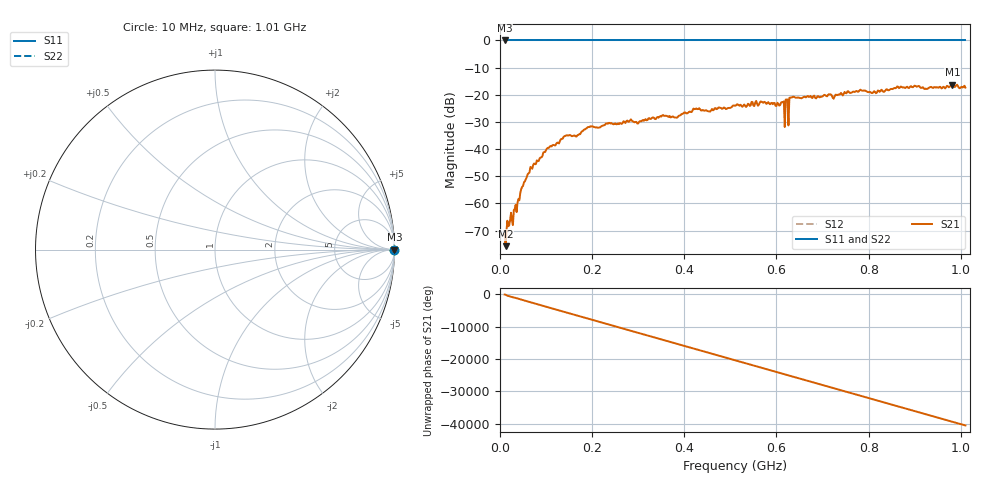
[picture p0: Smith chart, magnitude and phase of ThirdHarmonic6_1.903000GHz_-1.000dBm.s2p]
! 8/16/2025 10:58:07 PM
! C:\ANRITSUVNA\TEMP\TEMP.S2P
! CHANNEL.1
! TR.MEASUREMENT
! RAW.DATA
! RF.CORRECTION.OFF
! AVERAGING.OFF
! IF.BANDWIDTH: 5KHZ
! SWEEPTYPE:  FREQ.SWEEP(Linear)
! Reference Plane Port Info
! PORT:  PORT1  PORT2
! DISTANCE:  0  m  0  m
! TIME:  0  s  0  s
! PHASE.OFFSET:  0  deg.  0  deg.
! LOSS:  0  dB  0  dB
! REF.LOSS:  0  dB  0  dB
! REF.FREQ:  0  Hz  0  Hz
! Power Info
! POWER:  -20  dBm  -20  dBm
! EFF.POWER:  -20  dBm  -20  dBm
! SOURCE.ATTEN:  0  dB  0  dB
! TEST.ATTEN:  0  dB  0  dB
# GHZ S RI R 50.0
! FREQ.GHZ  S11RE  S11IM  S21RE  S21IM  S12RE  S12IM  S22RE  S22IM
!; PortSelection: Port_12
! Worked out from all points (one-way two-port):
!   501 points, 10 MHz to 1.01 GHz, reference 50 ohm
!   highest |S21| = -16.22 dB at 982 MHz (marker M1); lowest = -75.7 dB at 12 MHz (marker M2)
!   lowest |S11| = 0.0 dB at 10 MHz (marker M3)
!   |S11| at or under -10 dB: nowhere
!   |S22| runs from 0.0 to 0.0 dB; largest |S21 - S12| = 1.1
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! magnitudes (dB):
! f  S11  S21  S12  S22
! 10 MHz  0.0  -70.2  0.0  0.0
! 12 MHz  0.0  -75.7  0.0  0.0
! 32 MHz  0.0  -62.0  0.0  0.0
! 50 MHz  0.0  -53.5  0.0  0.0
! 70 MHz  0.0  -47.2  0.0  0.0
! 106 MHz  0.0  -39.5  0.0  0.0
! 142 MHz  0.0  -35.1  0.0  0.0
! 178 MHz  0.0  -33.5  0.0  0.0
! 196 MHz  0.0  -31.6  0.0  0.0
! 344 MHz  0.0  -28.4  0.0  0.0
! 510 MHz  0.0  -24.0  0.0  0.0
! 612 MHz  0.0  -22.7  0.0  0.0
! 614 MHz  0.0  -22.8  0.0  0.0
! 620 MHz  0.0  -21.8  0.0  0.0
! 622 MHz  0.0  -21.7  0.0  0.0
! 624 MHz  0.0  -21.7  0.0  0.0
! 630 MHz  0.0  -21.0  0.0  0.0
! 632 MHz  0.0  -21.0  0.0  0.0
! 678 MHz  0.0  -21.2  0.0  0.0
! 844 MHz  0.0  -18.4  0.0  0.0
! 982 MHz  0.0  -16.2  0.0  0.0
! 1.01 GHz  0.0  -17.4  0.0  0.0
